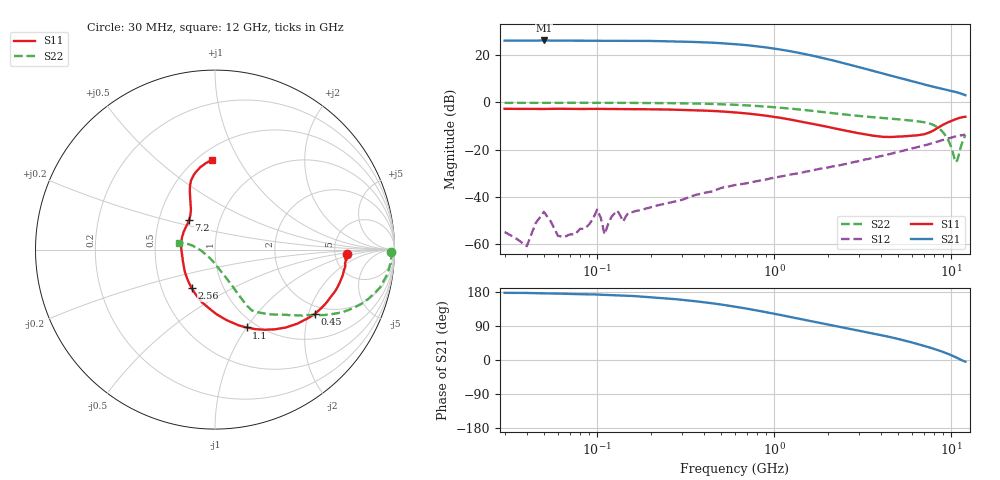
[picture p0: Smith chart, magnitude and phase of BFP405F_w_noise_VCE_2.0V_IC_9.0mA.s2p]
! Infineon Technologies  Discrete & RF Semiconductors
! BFP405F
! VCE =  2.0 V,  IC =  9.0 mA
! Common Emitter S-Parameters:  Nov 2015
# GHz  S  MA  R  50
!  f  S11  S21  S12  S22
! GHz  MAG  ANG  MAG  ANG  MAG  ANG  MAG  ANG
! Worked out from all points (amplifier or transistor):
!   239 points, 30 MHz to 12 GHz, reference 50 ohm
!   highest |S21| = 26.3 dB at 50 MHz (marker M1)
!   |S21| within 3 dB of that: start of sweep to 909.3 MHz
!   unconditionally stable (mu >= 1): 38.04 MHz to 40.57 MHz; 2.287 GHz to end of sweep
!   at 300 MHz: K = 0.16, MSG = 33.6 dB, |S12| = -41.3 dB
!   at 1.88 GHz: K = 0.87, MSG = 23.4 dB, |S12| = -27.9 dB
!   at 12 GHz: K = 1.41, MAG = 4.6 dB, |S12| = -13.6 dB
!   lowest NFmin = 1.60 dB at 450 MHz
!   S11 on the Smith chart (normalised r, x): 30 MHz: 6.43, -0.75; 450 MHz: 1.73, -2.21; 1.1 GHz: 0.90, -1.00; 2.56 GHz: 0.71, -0.32; 7.2 GHz: 0.71, +0.24; 12 GHz: 0.59, +0.78
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0.03  0.7342 -2.1  20.43 177.3  0.0018 52.4  0.9818 -0.7
0.04  0.731 -3.0  20.47 176.9  0.0009 9.0  0.9839 -1.2
0.05  0.7284 -4.2  20.64 175.8  0.0048 42.8  0.9875 -1.7
0.06  0.7358 -4.4  20.45 175.3  0.0015 101.9  0.9846 -1.7
0.085  0.7299 -6.5  20.38 173.5  0.0021 52.3  0.9835 -2.5
0.1  0.7312 -7.6  20.3 172.7  0.0054 87.1  0.9827 -3.4
0.11  0.7296 -8.3  20.29 172.0  0.0016 93.3  0.984 -3.6
0.13  0.7273 -9.9  20.27 170.6  0.0051 100.7  0.9816 -4.3
0.145  0.7262 -11.0  20.29 170.0  0.0038 91.4  0.9808 -4.7
0.24  0.7111 -18.2  19.87 162.9  0.0071 75.5  0.9703 -8.0
0.32  0.6923 -23.7  19.41 157.6  0.0094 80.4  0.9562 -10.4
0.45  0.6622 -32.7  18.49 149.4  0.0131 79.2  0.9305 -14.3
0.6  0.6166 -42.1  17.23 140.6  0.0178 73.8  0.8946 -18.1
0.82  0.5474 -54.4  15.32 129.6  0.0219 70.6  0.8382 -22.8
1.1  0.4683 -67.9  13.1 118.1  0.0271 67.5  0.7701 -27.4
1.64  0.3537 -89.9  9.837 101.9  0.0362 64.5  0.665 -33.4
2.56  0.2499 -121.4  6.58 83.8  0.0505 62.1  0.5517 -41.4
4.5  0.1861 -173.1  3.747 60.6  0.0808 58.0  0.4576 -51.5
7.2  0.2186 131.5  2.354 35.6  0.126 47.7  0.3724 -59.7
9.2  0.353 113.4  1.886 19.4  0.1644 38.2  0.2063 -65.6
10.6  0.4431 104.2  1.668 7.2  0.1916 29.6  0.0544 -126.1
12  0.4977 91.8  1.427 -4.4  0.2085 21.8  0.2039 169.2
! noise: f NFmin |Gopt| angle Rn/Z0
0.45  1.6  0.23  5  0.33
0.9  1.61  0.21  11  0.35
1.5  1.67  0.2  16  0.26
1.9  1.7  0.18  22  0.29
2.4  1.84  0.17  30  0.34
3  1.92  0.15  43  0.31
3.5  1.97  0.13  50  0.3
4.5  2.13  0.1  51  0.2
5.5  2.32  0.05  51  0.05
